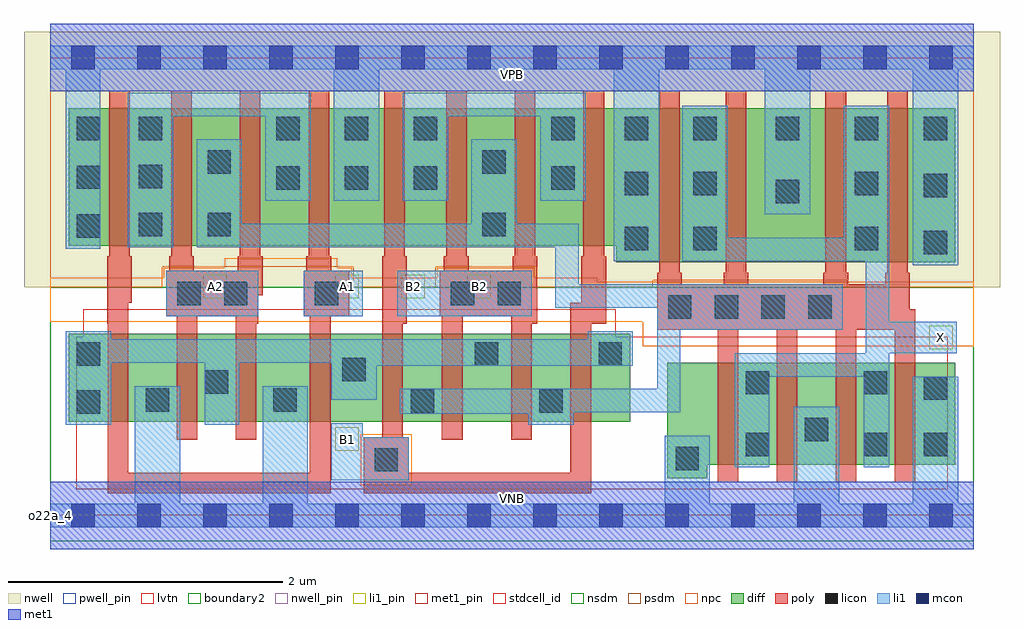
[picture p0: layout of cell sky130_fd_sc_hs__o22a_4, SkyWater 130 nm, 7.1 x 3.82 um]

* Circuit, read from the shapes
.subckt sky130_fd_sc_hs__o22a_4 A1 A2 B1 B2 VGND VNB VPB VPWR X
XM1 VGND A1 n1 VNB sky130_fd_pr__nfet_01v8_lvt w=0.64 l=0.15 m=2
XM2 n1 A2 VGND VNB sky130_fd_pr__nfet_01v8_lvt w=0.64 l=0.15 m=2
XM3 n2 B1 n1 VNB sky130_fd_pr__nfet_01v8_lvt w=0.64 l=0.15 m=2
XM4 n1 B2 n2 VNB sky130_fd_pr__nfet_01v8_lvt w=0.64 l=0.15 m=2
XM5 X n2 VGND VNB sky130_fd_pr__nfet_01v8_lvt w=0.74 l=0.15 m=4
XM6 n3 A1 VPWR VPB sky130_fd_pr__pfet_01v8 w=1 l=0.15 m=2
XM7 n2 A2 n3 VPB sky130_fd_pr__pfet_01v8 w=1 l=0.15 m=2
XM8 n4 B1 VPWR VPB sky130_fd_pr__pfet_01v8 w=1 l=0.15 m=2
XM9 n2 B2 n4 VPB sky130_fd_pr__pfet_01v8 w=1 l=0.15 m=2
XM10 X n2 VPWR VPB sky130_fd_pr__pfet_01v8 w=1.12 l=0.15 m=4
.ends

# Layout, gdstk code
import gdstk
lib = gdstk.Library(unit=1e-6, precision=1e-09)
def R(c, l, rs):  # rectangles x0, y0, x1, y1
    for r in rs: c.add(gdstk.rectangle(r[:2], r[2:], *l))
def A(c, l, x, y, w, h, nx, ny, dx, dy):  # array of equal rectangles
    R(c, l, [(x+i*dx, y+j*dy, x+i*dx+w, y+j*dy+h) for i in range(nx) for j in range(ny)])
def P(c, l, *ps):  # polygons
    for p in ps: c.add(gdstk.Polygon(p, *l))
nwell_pin = (64, 16)
nwell = (64, 20)
diff = (65, 20)
poly = (66, 20)
licon = (66, 44)
li1_pin = (67, 16)
li1 = (67, 20)
mcon = (67, 44)
met1_pin = (68, 16)
met1 = (68, 20)
stdcell_id = (81, 4)
nsdm = (93, 44)
psdm = (94, 20)
npc = (95, 20)
pwell_pin = (122, 16)
lvtn = (125, 44)
boundary2 = (236, 0)

sky130_fd_sc_hs__o22a_4 = lib.new_cell('sky130_fd_sc_hs__o22a_4')
R(sky130_fd_sc_hs__o22a_4, nwell_pin, [(0,3.085,6.72,3.33)])
R(sky130_fd_sc_hs__o22a_4, nwell, [(-0.19,1.66,6.91,3.52)])
R(sky130_fd_sc_hs__o22a_4, diff, [(0.135,0.68,4.22,1.32)])
P(sky130_fd_sc_hs__o22a_4, diff, [(6.585,2.96),(0.135,2.96),(0.135,1.96),(4.12,1.96),(4.12,1.84),(6.585,1.84)],
  [(6.585,1.11),(4.49,1.11),(4.49,0.27),(4.78,0.27),(4.78,0.37),(6.585,0.37)])
P(sky130_fd_sc_hs__o22a_4, poly, [(1.545,1.885),(1.53,1.885),(1.53,3.09),(1.38,3.09),(1.38,1.885),(1.365,1.885),(1.365,1.78),(1.045,1.78),(1.045,1.885),(1.03,1.885),(1.03,3.09),(0.88,3.09),(0.88,1.885),(0.865,1.885),(0.865,1.78),(0.845,1.78),(0.845,1.45),(0.92,1.45),(0.92,0.55),(1.07,0.55),(1.07,1.45),(1.35,1.45),(1.35,0.55),(1.5,0.55),(1.5,1.395),(1.515,1.395),(1.515,1.6),(1.545,1.6)],
  [(2.175,1.78),(2.045,1.78),(2.045,1.885),(2.03,1.885),(2.03,3.09),(1.88,3.09),(1.88,1.885),(1.865,1.885),(1.865,1.78),(1.845,1.78),(1.845,1.45),(1.89,1.45),(1.89,0.31),(0.57,0.31),(0.57,1.545),(0.595,1.545),(0.595,1.885),(0.58,1.885),(0.58,3.09),(0.43,3.09),(0.43,1.885),(0.415,1.885),(0.415,1.395),(0.42,1.395),(0.42,0.16),(2.04,0.16),(2.04,1.45),(2.175,1.45)],
  [(3.545,1.885),(3.53,1.885),(3.53,3.09),(3.38,3.09),(3.38,1.885),(3.365,1.885),(3.365,1.78),(3.045,1.78),(3.045,1.885),(3.03,1.885),(3.03,3.09),(2.88,3.09),(2.88,1.885),(2.865,1.885),(2.865,1.78),(2.835,1.78),(2.835,1.45),(2.85,1.45),(2.85,0.55),(3,0.55),(3,1.45),(3.355,1.45),(3.355,0.55),(3.505,0.55),(3.505,1.395),(3.545,1.395)],
  [(4.045,1.885),(4.03,1.885),(4.03,3.09),(3.88,3.09),(3.88,1.885),(3.865,1.885),(3.865,1.545),(3.785,1.545),(3.785,0.31),(2.61,0.31),(2.61,0.57),(2.565,0.57),(2.565,1.395),(2.595,1.395),(2.595,1.885),(2.58,1.885),(2.58,3.09),(2.43,3.09),(2.43,1.885),(2.415,1.885),(2.415,0.57),(2.28,0.57),(2.28,0.16),(3.935,0.16),(3.935,1.395),(4.045,1.395)],
  [(6.295,1.5),(6.255,1.5),(6.255,1.765),(6.24,1.765),(6.24,3.09),(6.09,3.09),(6.09,1.765),(6.075,1.765),(6.075,1.68),(5.805,1.68),(5.805,1.765),(5.79,1.765),(5.79,3.09),(5.64,3.09),(5.64,1.765),(5.625,1.765),(5.625,1.68),(5.08,1.68),(5.08,1.765),(5.065,1.765),(5.065,3.09),(4.915,3.09),(4.915,1.765),(4.9,1.765),(4.9,1.68),(4.595,1.68),(4.595,1.765),(4.58,1.765),(4.58,3.09),(4.43,3.09),(4.43,1.765),(4.415,1.765),(4.415,1.35),(4.855,1.35),(4.855,0.24),(5.005,0.24),(5.005,1.35),(5.285,1.35),(5.285,0.24),(5.435,0.24),(5.435,1.35),(5.715,1.35),(5.715,0.24),(5.865,0.24),(5.865,1.35),(6.145,1.35),(6.145,0.24),(6.295,0.24)])
A(sky130_fd_sc_hs__o22a_4, licon, 4.495, 1.43, 0.17, 0.17, 4, 1, 0.34, 0)
A(sky130_fd_sc_hs__o22a_4, licon, 6.355, 1.9, 0.17, 0.17, 1, 3, 0, 0.415)
A(sky130_fd_sc_hs__o22a_4, licon, 4.18, 1.93, 0.17, 0.17, 1, 3, 0, 0.4)
A(sky130_fd_sc_hs__o22a_4, licon, 4.68, 1.93, 0.17, 0.17, 1, 3, 0, 0.4)
A(sky130_fd_sc_hs__o22a_4, licon, 5.855, 1.93, 0.17, 0.17, 1, 3, 0, 0.4)
A(sky130_fd_sc_hs__o22a_4, licon, 0.195, 2.02, 0.17, 0.17, 1, 3, 0, 0.355)
A(sky130_fd_sc_hs__o22a_4, licon, 0.645, 2.03, 0.17, 0.17, 1, 3, 0, 0.35)
A(sky130_fd_sc_hs__o22a_4, licon, 1.645, 2.37, 0.17, 0.17, 3, 2, 0.5, 0.36)
R(sky130_fd_sc_hs__o22a_4, licon, [(2.36,0.32,2.53,0.49), (4.55,0.33,4.72,0.5), (5.06,0.43,5.23,0.6), (5.92,0.43,6.09,0.6), (6.355,0.43,6.525,0.6), (5.49,0.54,5.66,0.71), (0.195,0.74,0.365,0.91), (2.625,0.745,2.795,0.915), (3.56,0.745,3.73,0.915), (0.695,0.755,0.865,0.925), (1.625,0.755,1.795,0.925), (6.355,0.84,6.525,1.01), (5.06,0.88,5.23,1.05), (5.92,0.88,6.09,1.05), (1.125,0.885,1.295,1.055), (2.125,0.975,2.295,1.145), (0.195,1.09,0.365,1.26), (3.09,1.09,3.26,1.26), (3.99,1.09,4.16,1.26), (0.925,1.53,1.095,1.7), (1.265,1.53,1.435,1.7), (1.925,1.53,2.095,1.7), (2.915,1.53,3.085,1.7), (3.255,1.53,3.425,1.7), (1.145,2.03,1.315,2.2), (3.145,2.03,3.315,2.2), (5.28,2.27,5.45,2.44), (3.645,2.37,3.815,2.54), (1.145,2.485,1.315,2.655), (3.145,2.485,3.315,2.655), (3.645,2.73,3.815,2.9), (5.28,2.73,5.45,2.9)])
A(sky130_fd_sc_hs__o22a_4, li1_pin, 2.075, 1.58, 0.17, 0.17, 3, 1, 0.48, 0)
R(sky130_fd_sc_hs__o22a_4, li1_pin, [(2.075,0.47,2.245,0.64), (6.395,1.21,6.565,1.38), (1.115,1.58,1.285,1.75)])
R(sky130_fd_sc_hs__o22a_4, li1, [(0.845,1.45,1.515,1.78), (1.845,1.45,2.275,1.78), (2.525,1.45,3.505,1.78)])
P(sky130_fd_sc_hs__o22a_4, li1, [(0,-0.085),(0,0.085),(0.615,0.085),(0.615,0.94),(0.945,0.94),(0.945,0.085),(1.545,0.085),(1.545,0.94),(1.875,0.94),(1.875,0.085),(4.47,0.085),(4.47,0.58),(4.8,0.58),(4.8,0.085),(5.41,0.085),(5.41,0.79),(5.74,0.79),(5.74,0.085),(6.275,0.085),(6.275,1.01),(6.605,1.01),(6.605,0.085),(6.72,0.085),(6.72,-0.085)],
  [(0,3.245),(0,3.415),(6.72,3.415),(6.72,3.245),(6.605,3.245),(6.605,1.82),(6.275,1.82),(6.275,3.245),(5.53,3.245),(5.53,2.19),(5.2,2.19),(5.2,3.245),(4.43,3.245),(4.43,1.85),(4.1,1.85),(4.1,3.245),(2.395,3.245),(2.395,2.29),(2.065,2.29),(2.065,3.245),(0.365,3.245),(0.365,1.94),(0.115,1.94),(0.115,3.245)],
  [(2.275,0.57),(2.61,0.57),(2.61,0.255),(2.045,0.255),(2.045,0.67),(2.275,0.67)],
  [(5.935,1.18),(5.935,1.85),(4.6,1.85),(4.6,2.98),(4.93,2.98),(4.93,2.02),(5.775,2.02),(5.775,2.98),(6.105,2.98),(6.105,1.41),(6.595,1.41),(6.595,1.18),(6.105,1.18),(6.105,0.35),(5.92,0.35),(5.92,1.01),(5.23,1.01),(5.23,0.35),(4.98,0.35),(4.98,1.18)],
  [(3.565,2.905),(2.895,2.905),(2.895,2.29),(2.565,2.29),(2.565,3.075),(3.895,3.075),(3.895,2.29),(3.565,2.29)],
  [(1.565,2.905),(0.895,2.905),(0.895,1.95),(0.565,1.95),(0.565,3.075),(1.895,3.075),(1.895,2.29),(1.565,2.29)],
  [(1.125,0.66),(1.125,1.11),(0.445,1.11),(0.445,0.66),(0.115,0.66),(0.115,1.34),(0.445,1.34),(0.445,1.28),(3.91,1.28),(3.91,1.34),(4.24,1.34),(4.24,1.09),(2.375,1.09),(2.375,0.84),(2.045,0.84),(2.045,1.11),(1.375,1.11),(1.375,0.66)],
  [(3.48,0.66),(3.48,0.74),(2.545,0.74),(2.545,0.92),(4.415,0.92),(4.415,1.51),(3.675,1.51),(3.675,1.95),(1.065,1.95),(1.065,2.735),(1.395,2.735),(1.395,2.12),(3.065,2.12),(3.065,2.735),(3.395,2.735),(3.395,2.12),(3.845,2.12),(3.845,1.68),(5.765,1.68),(5.765,1.35),(4.585,1.35),(4.585,0.75),(3.81,0.75),(3.81,0.66)])
A(sky130_fd_sc_hs__o22a_4, mcon, 0.155, -0.085, 0.17, 0.17, 14, 2, 0.48, 3.33)
R(sky130_fd_sc_hs__o22a_4, met1_pin, [(0,0,6.72,0.245), (0,3.085,6.72,3.33)])
R(sky130_fd_sc_hs__o22a_4, met1, [(0,-0.245,6.72,0.245), (0,3.085,6.72,3.575)])
R(sky130_fd_sc_hs__o22a_4, stdcell_id, [(0,0,6.72,3.33)])
R(sky130_fd_sc_hs__o22a_4, nsdm, [(0,-0.19,6.72,1.66)])
P(sky130_fd_sc_hs__o22a_4, psdm, [(6.72,3.52),(0,3.52),(0,1.66),(0.815,1.66),(0.815,1.81),(2.205,1.81),(2.205,1.66),(2.805,1.66),(2.805,1.81),(3.535,1.81),(3.535,1.66),(4.385,1.66),(4.385,1.71),(5.795,1.71),(5.795,1.66),(6.72,1.66)])
R(sky130_fd_sc_hs__o22a_4, npc, [(2.26,0.22,2.63,0.59)])
P(sky130_fd_sc_hs__o22a_4, npc, [(6.72,1.7),(3.98,1.7),(3.98,1.73),(3.525,1.73),(3.525,1.8),(2.815,1.8),(2.815,1.73),(2.195,1.73),(2.195,1.8),(2.09,1.8),(2.09,1.87),(1.27,1.87),(1.27,1.8),(0.825,1.8),(0.825,1.73),(0,1.73),(0,1.41),(4.31,1.41),(4.31,1.23),(6.72,1.23)])
R(sky130_fd_sc_hs__o22a_4, pwell_pin, [(0,0,6.72,0.245)])
P(sky130_fd_sc_hs__o22a_4, lvtn, [(6.53,1.3),(4.115,1.3),(4.115,1.5),(0.24,1.5),(0.24,1.3),(0.19,1.3),(0.19,0.19),(6.53,0.19)])
R(sky130_fd_sc_hs__o22a_4, boundary2, [(0,0,6.72,3.33)])
sky130_fd_sc_hs__o22a_4.add(gdstk.Label('o22a_4', (0,0), layer=83, texttype=44))
sky130_fd_sc_hs__o22a_4.add(gdstk.Label('VNB', (3.36,0.123), layer=64, texttype=59))
sky130_fd_sc_hs__o22a_4.add(gdstk.Label('VPB', (3.36,3.208), layer=64, texttype=5))
sky130_fd_sc_hs__o22a_4.add(gdstk.Label('VPWR', (3.36,3.208), layer=68, texttype=5))
sky130_fd_sc_hs__o22a_4.add(gdstk.Label('VGND', (3.36,0.123), layer=68, texttype=5))
sky130_fd_sc_hs__o22a_4.add(gdstk.Label('B1', (2.16,0.555), layer=67, texttype=5))
sky130_fd_sc_hs__o22a_4.add(gdstk.Label('X', (6.48,1.295), layer=67, texttype=5))
sky130_fd_sc_hs__o22a_4.add(gdstk.Label('A1', (2.16,1.665), layer=67, texttype=5))
sky130_fd_sc_hs__o22a_4.add(gdstk.Label('A2', (1.2,1.665), layer=67, texttype=5))
sky130_fd_sc_hs__o22a_4.add(gdstk.Label('B2', (2.64,1.665), layer=67, texttype=5))
sky130_fd_sc_hs__o22a_4.add(gdstk.Label('B2', (3.12,1.665), layer=67, texttype=5))

lib.write_gds('sky130_fd_sc_hs__o22a_4.gds')
